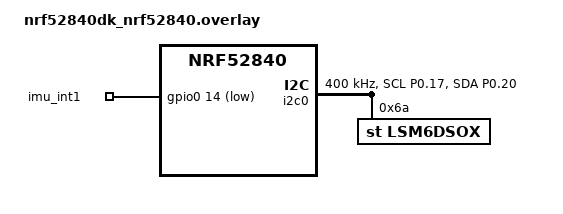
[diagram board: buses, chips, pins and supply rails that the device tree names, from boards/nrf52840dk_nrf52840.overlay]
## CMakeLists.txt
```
# Zephyr build for nRF52840 + LSM6DSOX KWS firmware.
#
# Build:
#   west build -b nrf52840dk_nrf52840 deploy/firmware
#   west flash
cmake_minimum_required(VERSION 3.20.0)
find_package(Zephyr REQUIRED HINTS $ENV{ZEPHYR_BASE})
project(kws_firmware C)

target_sources(app PRIVATE
    src/main.c
    src/ble_kws.c
    src/imu_lsm6dsox.c
    src/kws_pipeline.c
    src/dsp.c
    src/kws_int8.c
    model/dscnn_m_w8a8.c
)

target_include_directories(app PRIVATE
    src
    model
)

# CMSIS-DSP + CMSIS-NN are linked automatically via CONFIG_CMSIS_DSP/NN in prj.conf.
target_compile_definitions(app PRIVATE
    USE_CMSIS_NN=1
    ARM_MATH_CM4=1
    __FPU_PRESENT=1
)

# Push the hottest compute kernels to -O3 + loop unrolling. -O2 (from
# CONFIG_SPEED_OPTIMIZATIONS) is the global default; bumping these specific
# files gets us better auto-vectorization in the int8 conv inner loops.
set_source_files_properties(
    src/kws_int8.c
    src/dsp.c
    PROPERTIES COMPILE_OPTIONS "-O3;-funroll-loops"
)
```

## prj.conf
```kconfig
# Zephyr config for nRF52840 KWS firmware.

# Core
CONFIG_MAIN_STACK_SIZE=2048
CONFIG_HEAP_MEM_POOL_SIZE=2048
CONFIG_CBPRINTF_FP_SUPPORT=y

# Optimize for speed (-O2). Default -Os makes the int8 conv kernels and DFT
# 2-3× slower than necessary. -O2 is the right pick for a real-time KWS path.
CONFIG_SPEED_OPTIMIZATIONS=y

# Peripherals
CONFIG_GPIO=y
CONFIG_I2C=y
CONFIG_PINCTRL=y

# Logging via RTT (USB-UART optional). Use RTT for low overhead.
CONFIG_LOG=y
CONFIG_LOG_MODE_DEFERRED=y
CONFIG_USE_SEGGER_RTT=y
CONFIG_LOG_BACKEND_RTT=y
CONFIG_LOG_BACKEND_UART=n

# Math + FPU (Cortex-M4F)
CONFIG_FPU=y
CONFIG_FPU_SHARING=y
CONFIG_NEWLIB_LIBC=y
CONFIG_NEWLIB_LIBC_FLOAT_PRINTF=y

# CMSIS-DSP (FFT) + CMSIS-NN (conv accel)
CONFIG_CMSIS_DSP=y
CONFIG_CMSIS_NN=y

# Power: keep simple — no PM yet.
CONFIG_PM=n

# Stack overflow guard
CONFIG_HW_STACK_PROTECTION=y
CONFIG_THREAD_STACK_INFO=y




#
# Copyright (c) 2018 Nordic Semiconductor
#
# SPDX-License-Identifier: LicenseRef-Nordic-5-Clause
#
CONFIG_NCS_SAMPLES_DEFAULTS=y

CONFIG_BT=y
CONFIG_BT_PERIPHERAL=y
CONFIG_BT_DEVICE_NAME="KWS_Sensor"
CONFIG_BT_MAX_CONN=1

CONFIG_SYSTEM_WORKQUEUE_STACK_SIZE=2048
# Newlib heap minimum check fires when BLE eats most of SRAM. We use
# k_malloc (Zephyr heap) not newlib malloc, so zero minimum is fine.
CONFIG_NEWLIB_LIBC_MIN_REQUIRED_HEAP_SIZE=0

# FOTA over BLE via MCUmgr
CONFIG_NCS_SAMPLE_MCUMGR_BT_OTA_DFU=y
```

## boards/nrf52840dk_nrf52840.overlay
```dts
// Devicetree overlay: LSM6DSOX on I2C0 (TWIM0), INT1 → P0.30.
//
// Wiring (nRF52840-DK ↔ LSM6DSOX breakout):
//   P0.27  SCL   →  SCL
//   P0.26  SDA   →  SDA
//   P0.30  IRQ   ←  INT1
//   3V3          →  VDD / VDDIO
//   GND          →  GND
//   (SA0 → GND so I2C address = 0x6A; tie SA0 → VDD for 0x6B and update
//    LSM6DSOX_I2C_ADDR in src/imu_lsm6dsox.c, or change the @0x6a node below.)
//
// Pull-ups: most LSM6DSOX breakouts have 10 kΩ pull-ups on board. If yours
// doesn't, add 4.7 kΩ to 3V3 on SDA and SCL.

&pinctrl {
    i2c0_default: i2c0_default {
        group1 {
            psels = <NRF_PSEL(TWIM_SCL, 0, 17)>,
                    <NRF_PSEL(TWIM_SDA, 0, 20)>;
        };
    };
    i2c0_sleep: i2c0_sleep {
        group1 {
            psels = <NRF_PSEL(TWIM_SCL, 0, 17)>,
                    <NRF_PSEL(TWIM_SDA, 0, 20)>;
            low-power-enable;
        };
    };
};

&i2c0 {
    status = "okay";
    compatible = "nordic,nrf-twim";
    clock-frequency = <I2C_BITRATE_FAST>;   // 400 kHz
    pinctrl-0 = <&i2c0_default>;
    pinctrl-1 = <&i2c0_sleep>;
    pinctrl-names = "default", "sleep";

    lsm6dsox: lsm6dsox@6a {
        compatible = "st,lsm6dsox";        // node only — we drive it ourselves
        reg = <0x6a>;
        label = "LSM6DSOX";
    };
};

/ {
    aliases {
        imu-i2c  = &lsm6dsox;
        imu-int1 = &imu_int1;
    };

    imu_gpios {
        compatible = "gpio-keys";
        imu_int1: imu_int1 {
            gpios = <&gpio0 14 (GPIO_ACTIVE_LOW)>;
        };
    };
};
```

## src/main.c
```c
// Production firmware entry point for nRF52840 + LSM6DSOX.
//
// Boot sequence:
//   1. Enable DWT cycle counter (for inference benchmarking).
//   2. Init the lock-free sample ring.
//   3. Start the IMU streaming Z-axis @ 3.33 kHz into the ring.
//   4. Start the KWS inference thread (sliding-window every 250 ms).
//   5. Idle the main thread (deepsleep between IRQs via WFI).
//
// On detection: toggle LED + log + (optionally) send BLE notification.
#include <zephyr/kernel.h>
#include <zephyr/drivers/gpio.h>
#include <zephyr/logging/log.h>

#include "ring_buffer.h"
#include "imu_lsm6dsox.h"
#include "kws_pipeline.h"
#include "ble_kws.h"

LOG_MODULE_REGISTER(main, LOG_LEVEL_INF);

#define LED0_NODE DT_ALIAS(led0)
static const struct gpio_dt_spec led0 = GPIO_DT_SPEC_GET(LED0_NODE, gpios);

static struct sample_ring g_ring;

static const char* KW_NAMES[] = {
    "begin_activity", "stop_activity", "wake_up", "unknown",
};

static void on_keyword(keyword_t kw, float conf) {
    LOG_INF(">>> %s (conf=%.2f)", KW_NAMES[kw], (double)conf);
    gpio_pin_toggle_dt(&led0);
    ble_kws_notify(kw, conf);
}

static void enable_dwt(void) {
    *(volatile uint32_t*)0xE000EDFC |= (1u << 24);  // DEMCR.TRCENA
    *(volatile uint32_t*)0xE0001004  = 0;            // DWT_CYCCNT = 0
    *(volatile uint32_t*)0xE0001000 |= 1u;           // DWT_CTRL.CYCCNTENA
}

int main(void) {
    LOG_INF("DS-CNN-M KWS firmware starting (build " __DATE__ " " __TIME__ ")");

    enable_dwt();
    gpio_pin_configure_dt(&led0, GPIO_OUTPUT_INACTIVE);
    ring_init(&g_ring);

    int rc = ble_kws_init();
    if (rc < 0) {
        LOG_ERR("ble_kws_init failed: %d", rc);
        return rc;
    }

    rc = imu_start(&g_ring, IMU_AXIS_Z);   // training axis
    if (rc < 0) {
        LOG_ERR("imu_start failed: %d", rc);
        return rc;
    }

    struct kws_config cfg = {
        .ring                 = &g_ring,
        .on_keyword           = on_keyword,
        .confidence_threshold = 0.70f,
        .debounce_ms          = 1500,
        .slide_ms             = 250,
    };
    rc = kws_pipeline_start(&cfg);
    if (rc < 0) {
        LOG_ERR("kws_pipeline_start failed: %d", rc);
        return rc;
    }

    // Periodic health log (every 30 s).
    while (1) {
        k_sleep(K_SECONDS(30));
        struct imu_stats is; struct kws_pipeline_stats ks;
        imu_get_stats(&is);
        kws_pipeline_get_stats(&ks);
        LOG_INF("health: imu_irq=%u samples=%u ovr=%u spi_err=%u | "
                "inf=%u det=%u quiet=%u peak=%.4f rms=%.4f avg_cyc=%u "
                "(dsp=%u inf=%u)",
                is.isr_count, is.samples_pushed, is.fifo_overruns,
                is.spi_errors, ks.inferences, ks.detections,
                ks.skipped_quiet, (double)ks.last_peak, (double)ks.last_rms,
                ks.avg_cycles, ks.avg_dsp_cycles, ks.avg_inf_cycles);
    }
    return 0;
}
```

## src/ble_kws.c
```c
#include <zephyr/bluetooth/bluetooth.h>
#include <zephyr/bluetooth/conn.h>
#include <zephyr/bluetooth/uuid.h>
#include <zephyr/bluetooth/gatt.h>
#include <zephyr/settings/settings.h>
#include <zephyr/logging/log.h>

#include "ble_kws.h"

LOG_MODULE_REGISTER(ble_kws, LOG_LEVEL_INF);

/* ── UUIDs ─────────────────────────────────────────────────────────────── */

#define BT_UUID_KWS_SVC_VAL \
    BT_UUID_128_ENCODE(0xa7f0b5c1, 0x1234, 0x4567, 0x89ab, 0xcdef01234567ULL)

#define BT_UUID_KWS_NOTIF_VAL \
    BT_UUID_128_ENCODE(0xa7f0b5c2, 0x1234, 0x4567, 0x89ab, 0xcdef01234567ULL)

static struct bt_uuid_128 kws_svc_uuid   = BT_UUID_INIT_128(BT_UUID_KWS_SVC_VAL);
static struct bt_uuid_128 kws_notif_uuid = BT_UUID_INIT_128(BT_UUID_KWS_NOTIF_VAL);

/* ── GATT service ──────────────────────────────────────────────────────── */
/* attrs: [0] primary svc  [1] chrc decl  [2] chrc value  [3] CCC */

static bool notify_enabled;

static void kws_ccc_changed(const struct bt_gatt_attr *attr, uint16_t value)
{
    notify_enabled = (value == BT_GATT_CCC_NOTIFY);
    LOG_INF("KWS notify %s", notify_enabled ? "enabled" : "disabled");
}

BT_GATT_SERVICE_DEFINE(kws_svc,
    BT_GATT_PRIMARY_SERVICE(&kws_svc_uuid),
    BT_GATT_CHARACTERISTIC(&kws_notif_uuid,
        BT_GATT_CHRC_NOTIFY,
        BT_GATT_PERM_NONE, NULL, NULL, NULL),
    BT_GATT_CCC(kws_ccc_changed, BT_GATT_PERM_READ | BT_GATT_PERM_WRITE),
);

/* ── Advertising ───────────────────────────────────────────────────────── */

static const struct bt_data ad[] = {
    BT_DATA_BYTES(BT_DATA_FLAGS, BT_LE_AD_GENERAL | BT_LE_AD_NO_BREDR),
    BT_DATA_BYTES(BT_DATA_UUID128_ALL, BT_UUID_KWS_SVC_VAL),
};

static const struct bt_data sd[] = {
    BT_DATA(BT_DATA_NAME_COMPLETE,
            CONFIG_BT_DEVICE_NAME,
            sizeof(CONFIG_BT_DEVICE_NAME) - 1),
};

static void start_adv(void)
{
    int rc = bt_le_adv_start(BT_LE_ADV_CONN_FAST_1, ad, ARRAY_SIZE(ad), sd, ARRAY_SIZE(sd));
    if (rc) {
        LOG_ERR("adv start failed: %d", rc);
    }
}

/* ── Connection callbacks ──────────────────────────────────────────────── */

static struct bt_conn *current_conn;

static void on_connected(struct bt_conn *conn, uint8_t err)
{
    if (err) {
        LOG_ERR("BLE connect failed: %u", err);
        start_adv();
        return;
    }
    current_conn = bt_conn_ref(conn);
    LOG_INF("BLE connected");
}

static void on_disconnected(struct bt_conn *conn, uint8_t reason)
{
    bt_conn_unref(current_conn);
    current_conn  = NULL;
    notify_enabled = false;
    LOG_INF("BLE disconnected (reason=%u), restarting advertising", reason);
    start_adv();
}

BT_CONN_CB_DEFINE(conn_cbs) = {
    .connected    = on_connected,
    .disconnected = on_disconnected,
};

/* ── Public API ────────────────────────────────────────────────────────── */

int ble_kws_init(void)
{
    int rc = bt_enable(NULL);
    if (rc) {
        LOG_ERR("bt_enable failed: %d", rc);
        return rc;
    }

    /* Required when CONFIG_BT_SETTINGS/CONFIG_SETTINGS is enabled (pulled in
     * by BT_LBS_SECURITY_ENABLED default). Without this bt_le_adv_start fails
     * because the BLE identity address has not been loaded from flash yet. */
    if (IS_ENABLED(CONFIG_SETTINGS)) {
        settings_load();
    }

    start_adv();
    LOG_INF("BLE KWS ready, advertising as \"%s\"", CONFIG_BT_DEVICE_NAME);
    return 0;
}

static void send_notify(const uint8_t *buf, uint16_t len)
{
    if (!current_conn || !notify_enabled) {
        return;
    }
    int rc = bt_gatt_notify(current_conn, &kws_svc.attrs[2], buf, len);
    if (rc) {
        LOG_WRN("bt_gatt_notify: %d", rc);
    }
}

/* [kw_id 0-3][conf 0-100] */
void ble_kws_notify(keyword_t kw, float conf)
{
    uint8_t buf[2] = {
        (uint8_t)kw,
        (uint8_t)(conf * 100.0f + 0.5f),
    };
    send_notify(buf, sizeof(buf));
}

/* Fixed byte 55 — signals "quiet gate: no motion detected". */
void ble_kws_notify_quiet(void)
{
    uint8_t val = 55;
    send_notify(&val, 1);
}

/* [isr_count_lo][isr_count_hi] (lower 16 bits of ISR counter). */
void ble_kws_notify_imu(uint32_t isr_count)
{
    uint8_t buf[2] = {
        (uint8_t)(isr_count & 0xFF),
        (uint8_t)((isr_count >> 8) & 0xFF),
    };
    send_notify(buf, sizeof(buf));
}
```

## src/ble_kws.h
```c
// BLE transport for KWS detection events.
//
// Service UUID:        a7f0b5c1-1234-4567-89ab-cdef01234567
// Notification UUID:   a7f0b5c2-1234-4567-89ab-cdef01234567
//
// Payload (2 bytes): [keyword_id (0-3)] [confidence 0-100]
#pragma once
#include "kws_pipeline.h"

// Call once after ring/IMU init. Enables BLE stack and starts advertising.
int  ble_kws_init(void);

// Keyword detection: [kw_id 0-3][conf 0-100]
void ble_kws_notify(keyword_t kw, float conf);

// Quiet gate (no motion): sends fixed byte 55. Call on every quiet window.
void ble_kws_notify_quiet(void);

// IMU heartbeat: [isr_count_lo][isr_count_hi]  (lower 16 bits).
void ble_kws_notify_imu(uint32_t isr_count);
```

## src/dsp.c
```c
// DSP front-end implementation. Hand-rolled DFT + mel filterbank.
#include "dsp.h"
#include "../model/mel_filterbank.h"
#include <math.h>
#include <stdint.h>
#include <zephyr/logging/log.h>

LOG_MODULE_REGISTER(dsp, LOG_LEVEL_INF);

static float s_last_peak;          // most recent post-HP peak (for telemetry)
static float s_last_rms;           // most recent post-HP RMS  (for telemetry)
float dsp_last_peak(void) { return s_last_peak; }
float dsp_last_rms(void)  { return s_last_rms;  }

#ifndef M_PI
#define M_PI 3.14159265358979323846f
#endif

// CMSIS RFFT requires pow-of-2 N; DSCNN_N_FFT=133 is not, so we use a cached
// naive DFT path. The CMSIS branch was removed to save flash.

// 4th-order Butterworth HP @ 80 Hz, fs=3333 Hz, designed in scipy:
//   sosbutter(4, 80/(3333/2), btype='high') → 2 biquads, transposed direct II
//
// Pre-computed SOS coefficients (b0,b1,b2,a1,a2 per stage; a0=1)
static const float HP_SOS[2][5] = {
    // stage 1
    { 0.92250928f, -1.84501857f,  0.92250928f, -1.84017057f,  0.84986657f },
    // stage 2
    { 1.00000000f, -2.00000000f,  1.00000000f, -1.92129237f,  0.93098457f },
};

void dsp_hp_filter_inplace(float* x, int n) {
    // Cascade of 2 biquads, transposed direct form II
    for (int s = 0; s < 2; ++s) {
        const float b0 = HP_SOS[s][0], b1 = HP_SOS[s][1], b2 = HP_SOS[s][2];
        const float a1 = HP_SOS[s][3], a2 = HP_SOS[s][4];
        float z1 = 0.0f, z2 = 0.0f;
        for (int i = 0; i < n; ++i) {
            float in = x[i];
            float out = b0 * in + z1;
            z1 = b1 * in - a1 * out + z2;
            z2 = b2 * in - a2 * out;
            x[i] = out;
        }
    }
}

void dsp_peak_normalize(float* x, int n) {
    float peak = 0.0f;
    for (int i = 0; i < n; ++i) {
        float a = fabsf(x[i]);
        if (a > peak) peak = a;
    }
    if (peak > 0.0f) {
        const float inv = 1.0f / peak;
        for (int i = 0; i < n; ++i) x[i] *= inv;
    }
}

// Returns the start sample of the highest-energy `win`-sample window.
// If n <= win, copies x with zero-padding centered.
int dsp_max_energy_crop(const float* x, int n, int win, float* out) {
    if (n <= win) {
        int pad = win - n;
        int l = pad / 2;
        for (int i = 0; i < l; ++i) out[i] = 0.0f;
        for (int i = 0; i < n; ++i) out[l + i] = x[i];
        for (int i = l + n; i < win; ++i) out[i] = 0.0f;
        return 0;
    }
    // 25 ms smoothing window for short-time energy
    const int k = (int)(0.025f * DSCNN_SAMPLE_RATE);  // ~83
    // Compute squared signal and 1D box-smooth via running sum.
    float sum = 0.0f;
    // Cumulative energy  c[i] = sum_{j<i} x[j]^2
    // We avoid allocating: compute window energies in-place via sliding sum.
    // First pass: window energy at each start.
    float win_e_max = -1.0f; int best_start = 0;
    // Build initial sliding-energy of 'win' samples
    float win_sum = 0.0f;
    for (int i = 0; i < win; ++i) win_sum += x[i] * x[i];
    win_e_max = win_sum; best_start = 0;
    for (int i = win; i < n; ++i) {
        win_sum += x[i] * x[i] - x[i - win] * x[i - win];
        if (win_sum > win_e_max) { win_e_max = win_sum; best_start = i - win + 1; }
    }
    (void)k;  // smoothing isn't strictly needed for argmax of 2s window
    for (int i = 0; i < win; ++i) out[i] = x[best_start + i];
    return best_start;
}

void dsp_log_standardize(float* m, int n_mels, int t) {
    // (m - mean) / std, computed over the full (n_mels x t) tensor
    int n = n_mels * t;
    double sum = 0.0, sumsq = 0.0;
    for (int i = 0; i < n; ++i) {
        float v = logf(m[i] + 1e-6f);
        m[i] = v;
        sum += v; sumsq += (double)v * v;
    }
    double mean = sum / n;
    double var  = sumsq / n - mean * mean;
    if (var < 0) var = 0;
    float inv_std = 1.0f / (sqrtf((float)var) + 1e-5f);
    for (int i = 0; i < n; ++i) m[i] = (m[i] - (float)mean) * inv_std;
}

// ─── log-mel main entry ───
int dsp_logmel(const int16_t* pcm, int n_in,
                float* logmel_out, float* scratch, int n_scratch) {
    // Scratch layout (compact):
    //   When n_in <= WINDOW_SAMPLES (steady-state path): wav aliases hp_in,
    //   so we only need WINDOW + N_FFT + (N_FFT/2+1) floats. Saves ~26 KB.
    //   When n_in > WINDOW_SAMPLES we still allocate a separate wav for the
    //   max-energy crop output. Pipeline always feeds WINDOW_SAMPLES, so the
    //   small layout is the hot path.
    int n_proc = n_in;
    if (n_proc > 2 * WINDOW_SAMPLES) n_proc = 2 * WINDOW_SAMPLES;

    const int alias_wav = (n_proc <= WINDOW_SAMPLES);
    int need = (alias_wav ? WINDOW_SAMPLES
                          : n_proc + WINDOW_SAMPLES)
             + DSCNN_N_FFT + (DSCNN_N_FFT / 2 + 1);
    if (n_scratch < need) return -1;

    float* hp_in = scratch;
    float* wav   = alias_wav ? hp_in : (scratch + n_proc);
    float* frame = (alias_wav ? scratch + WINDOW_SAMPLES
                              : wav + WINDOW_SAMPLES);
    float* power = frame + DSCNN_N_FFT;

    // 1. int16 → float, walk backward so this is safe when pcm aliases hp_in
    // (callers may overlay the int16 PCM buffer onto the float scratch via a
    // union to save SRAM). Since sizeof(float)>sizeof(int16_t) and we walk i
    // descending, every read of pcm[i] precedes the write of hp_in[i] and the
    // hp_in[j>i] writes only ever touch addresses above pcm[i].
    for (int i = n_proc - 1; i >= 0; --i) {
        hp_in[i] = (float)pcm[i] * (1.0f / 32768.0f);
    }

    // 2. HP filter @ 80 Hz
    dsp_hp_filter_inplace(hp_in, n_proc);

    // 2b. Quiet-floor gate: peak-normalize destroys amplitude info, so without
    // this guard pure idle noise gets blown up to ±1.0 and the model fires on
    // every window. Reject windows whose post-HP peak is below the floor.
    {
        // Combined peak + RMS gate. Peak alone is fooled by a single spike of
        // electrical noise on the SPI line; RMS catches sustained low-level
        // hum that the peak gate also misses. Both must clear thresholds.
        float peak = 0.0f;
        double sumsq = 0.0;
        for (int i = 0; i < n_proc; ++i) {
            float v = hp_in[i];
            float a = fabsf(v);
            if (a > peak) peak = a;
            sumsq += (double)v * v;
        }
        float rms = sqrtf((float)(sumsq / (double)n_proc));
        s_last_peak = peak;
        s_last_rms  = rms;
        if (peak < DSP_QUIET_FLOOR || rms < DSP_RMS_FLOOR) {
            LOG_DBG("quiet: peak=%.5f rms=%.5f", (double)peak, (double)rms);
            return 1;  // positive = silent, not error
        }
        LOG_DBG("active: peak=%.5f rms=%.5f", (double)peak, (double)rms);
    }

    // 3. Peak normalize
    dsp_peak_normalize(hp_in, n_proc);

    // 4. Max-energy 2.0s crop. When n_proc == WINDOW the crop is the identity
    // and wav already aliases hp_in, so skip the redundant memcpy.
    if (!(alias_wav && n_proc == WINDOW_SAMPLES)) {
        dsp_max_energy_crop(hp_in, n_proc, WINDOW_SAMPLES, wav);
    }

    // 5. Naive RDFT with cached Hann + twiddles. N=133 is not pow-2 so we
    // cannot use arm_rfft_fast_f32 directly without rebuilding the filterbank.
    const int N    = DSCNN_N_FFT;
    const int HOP_ = DSCNN_HOP;
    const int T    = (WINDOW_SAMPLES - N) / HOP_ + 1;
    const int NB   = N / 2 + 1;

    static float  s_hann[DSCNN_N_FFT];
    static float  s_tw_c[DSCNN_N_FFT / 2 + 1];   // cos(2πk/N) per bin
    static float  s_tw_s[DSCNN_N_FFT / 2 + 1];   // -sin(2πk/N) per bin (FFT sign)
    static int    s_tables_init = 0;
    if (!s_tables_init) {
        for (int i = 0; i < N; ++i) {
            s_hann[i] = 0.5f - 0.5f * cosf(2.0f * (float)M_PI * i / (N - 1));
        }
        for (int k = 0; k < NB; ++k) {
            float a = 2.0f * (float)M_PI * (float)k / (float)N;
            s_tw_c[k] =  cosf(a);
            s_tw_s[k] = -sinf(a);  // FFT sign convention: e^(-j2πkn/N)
        }
        s_tables_init = 1;
    }

    for (int t = 0; t < T; ++t) {
        const int s0 = t * HOP_;
        for (int i = 0; i < N; ++i) frame[i] = wav[s0 + i] * s_hann[i];

        // |DFT|² via angle-recurrence twiddles. For bin k, twiddle steps by
        // (dc, ds) = (cos(2πk/N), -sin(2πk/N)) starting from (1, 0).
        for (int k = 0; k < NB; ++k) {
            const float dc = s_tw_c[k];
            const float ds = s_tw_s[k];
            float c = 1.0f, s = 0.0f;
            float re = 0.0f, im = 0.0f;
            for (int n = 0; n < N; ++n) {
                const float xn = frame[n];
                re += xn * c;
                im += xn * s;
                const float c_new = c * dc - s * ds;
                const float s_new = c * ds + s * dc;
                c = c_new; s = s_new;
            }
            power[k] = re * re + im * im;
        }

        // Apply mel filterbank: logmel_out[mel_idx, t] = sum_k FB[m,k] * power[k]
        for (int m = 0; m < DSCNN_N_MELS; ++m) {
            float sum_m = 0.0f;
            const float* fb = &MEL_FILTERBANK[m * MEL_N_BINS];
            for (int k = 0; k < NB; ++k) sum_m += fb[k] * power[k];
            logmel_out[m * T + t] = sum_m;
        }
    }

    // 6. log + per-clip standardize
    dsp_log_standardize(logmel_out, DSCNN_N_MELS, T);
    return 0;
}
```

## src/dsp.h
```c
// DSP front-end for DS-CNN-M KWS
//   raw int16 IMU (3333 Hz) → log-mel spectrogram (n_mels=30, T=101)
#pragma once
#include <stdint.h>
#include "../model/dscnn_m_w8a8.h"

// Sizes (from model header, repeated for clarity)
#define WINDOW_SAMPLES   DSCNN_WINDOW_SAMPLES   // 6666 = 2.0s @ 3333 Hz
#define MEL_T            ((WINDOW_SAMPLES - DSCNN_N_FFT) / DSCNN_HOP + 1)  // ≈ 100

// Post-HP peak/RMS thresholds (normalized [-1,1] units) below which the window
// is treated as silent and inference is skipped. The previous 0.005 peak-only
// floor was too permissive — sustained low-level IMU noise was clearing it.
// Defaults bumped 10× and an RMS gate added.  Tune empirically: log
// `health: ... peak= rms=` while idle and set thresholds 3-5× above observed.
#ifndef DSP_QUIET_FLOOR
#define DSP_QUIET_FLOOR  0.05f      // peak floor
#endif
#ifndef DSP_RMS_FLOOR
#define DSP_RMS_FLOOR    0.015f     // RMS floor (rejects steady-state hum)
#endif

// dsp_logmel return values:
//   0  — features written, run inference
//   1  — window is below quiet floor, treat as no-keyword (skip inference)
//   <0 — error

// Process raw int16 PCM samples -> normalized log-mel features.
// Inputs:
//   pcm:        raw int16 samples (any length n_in)
//   n_in:       number of input samples
//   logmel_out: output buffer, shape [DSCNN_N_MELS x MEL_T] row-major (n_mels rows)
//   scratch:    workspace, must hold at least:
//                 WINDOW_SAMPLES floats         (preprocessed waveform)
//               + DSCNN_N_FFT floats            (FFT input window)
//               + (DSCNN_N_FFT/2+1) floats      (power spectrum)
//   n_scratch:  scratch buffer size in floats
// Returns 0 on success, nonzero on error.
int dsp_logmel(const int16_t* pcm, int n_in,
                float* logmel_out, float* scratch, int n_scratch);

// Internal primitives (exposed for testing)
void dsp_hp_filter_inplace(float* x, int n);
void dsp_peak_normalize(float* x, int n);
int  dsp_max_energy_crop(const float* x, int n, int win, float* out);
void dsp_log_standardize(float* m, int n_mels, int t);

// Most recent post-HP peak / RMS (telemetry / threshold tuning).
float dsp_last_peak(void);
float dsp_last_rms(void);
```

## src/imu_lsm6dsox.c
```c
// LSM6DSOX driver — accel-only, 3.33 kHz ODR, hardware FIFO watermark IRQ.
// I2C transport (not SPI).
//
// Design notes:
//   * The model was trained on 3333 Hz int16 Z-axis accel samples.
//   * FIFO watermark = 64 samples (~19 ms). At 400 kHz I2C, draining
//     64 frames × 7 B takes ~11 ms — fits within the next watermark.
//   * INT1 is active-low (H_LACTIVE=1 in CTRL3_C) to match the overlay flag.
//   * FIFO drain runs in a dedicated thread — I2C TWIM uses DMA+semaphores
//     and cannot be called from a GPIO ISR.
//
// Wiring (boards/nrf52840dk_nrf52840.overlay):
//   I2C0 → LSM6DSOX  (INT1 = imu-int1 alias, active-low)
#include "imu_lsm6dsox.h"
#include "ble_kws.h"

#include <zephyr/kernel.h>
#include <zephyr/drivers/i2c.h>
#include <zephyr/drivers/gpio.h>
#include <zephyr/sys/atomic.h>
#include <zephyr/logging/log.h>
#include <errno.h>
#include <math.h>
#include <string.h>

LOG_MODULE_REGISTER(imu, LOG_LEVEL_INF);

// LSM6DSOX register map (subset)
#define REG_WHO_AM_I          0x0F
#define REG_FIFO_CTRL1        0x07
#define REG_FIFO_CTRL2        0x08
#define REG_FIFO_CTRL3        0x09
#define REG_FIFO_CTRL4        0x0A
#define REG_INT1_CTRL         0x0D
#define REG_CTRL1_XL          0x10
#define REG_CTRL3_C           0x12
#define REG_CTRL6_C           0x15
#define REG_FIFO_STATUS1      0x3A
#define REG_FIFO_STATUS2      0x3B
#define REG_FIFO_DATA_OUT_TAG 0x78

#define WHO_AM_I_VALUE    0x6C
#define ODR_3K33_FS_4G    0x98  // ODR=3333 Hz, FS=±4 g
#define FIFO_WTM_LEVEL    64
#define FIFO_BDR_XL_3K33  0x0A  // 1010 = 3333.3 Hz (Table 54)
#define FIFO_MODE_BYPASS  0x00
#define FIFO_MODE_CONT    0x06

#define I2C_NODE  DT_ALIAS(imu_i2c)
#define INT1_NODE DT_ALIAS(imu_int1)

static const struct i2c_dt_spec imu_i2c  = I2C_DT_SPEC_GET(I2C_NODE);
static const struct gpio_dt_spec int1_pin = GPIO_DT_SPEC_GET(INT1_NODE, gpios);
static struct gpio_callback int1_cb;

static struct sample_ring *g_ring;
static imu_axis_t          g_axis;
static struct imu_stats    g_stats;
static atomic_t            g_running;

// Semaphore: ISR gives, drain thread takes.
static K_SEM_DEFINE(g_fifo_sem, 0, 1);

// ── low-level I2C (thread context only) ──
static int reg_write(uint8_t reg, uint8_t val) {
    return i2c_reg_write_byte_dt(&imu_i2c, reg, val);
}

static int reg_read(uint8_t reg, uint8_t *dst, size_t n) {
    return i2c_burst_read_dt(&imu_i2c, reg, dst, n);
}

// ── ISR — must not call I2C ──
static void on_int1(const struct device *dev, struct gpio_callback *cb,
                    uint32_t pins) {
    ARG_UNUSED(dev); ARG_UNUSED(cb); ARG_UNUSED(pins);
    g_stats.isr_count++;
    k_sem_give(&g_fifo_sem);
    /* Log first hit and every 500th to confirm IRQ is firing without flooding RTT. */
    if (g_stats.isr_count == 1 || (g_stats.isr_count % 500) == 0) {
        LOG_INF("INT1 fired #%u", g_stats.isr_count);
    }
}

// ── FIFO drain (runs in imu_drain thread) ──
static void drain_fifo(void) {
    uint8_t st[2];
    if (reg_read(REG_FIFO_STATUS1, st, 2) < 0) {
        g_stats.spi_errors++;
        return;
    }
    uint16_t fifo_level = ((uint16_t)(st[1] & 0x03) << 8) | st[0];
    bool overrun = (st[1] & 0x40) != 0;
    if (overrun) g_stats.fifo_overruns++;
    if (fifo_level == 0) return;
    if (fifo_level > FIFO_WTM_LEVEL * 2) fifo_level = FIFO_WTM_LEVEL * 2;

    static uint8_t frames[FIFO_WTM_LEVEL * 2 * 7];
    if (reg_read(REG_FIFO_DATA_OUT_TAG, frames, fifo_level * 7) < 0) {
        g_stats.spi_errors++;
        return;
    }

    for (uint16_t i = 0; i < fifo_level; ++i) {
        const uint8_t *f = &frames[i * 7];
        if (((f[0] >> 3) & 0x1F) != 0x02) continue;  // accel tag only
        int16_t x = (int16_t)((f[2] << 8) | f[1]);
        int16_t y = (int16_t)((f[4] << 8) | f[3]);
        int16_t z = (int16_t)((f[6] << 8) | f[5]);

        int16_t s;
        switch (g_axis) {
        case IMU_AXIS_X: s = x; break;
        case IMU_AXIS_Y: s = y; break;
        case IMU_AXIS_Z: s = z; break;
        case IMU_AXIS_MAGNITUDE:
        default: {
            int32_t sx = x, sy = y, sz = z;
            uint32_t m = (uint32_t)sqrtf((float)(sx*sx + sy*sy + sz*sz));
            s = (int16_t)(m > 32767 ? 32767 : m);
            break;
        }
        }
        ring_push(g_ring, s);
    }
    g_stats.samples_pushed += fifo_level;
}

// ── drain thread ──
#define IMU_DRAIN_STACK 1024
K_THREAD_STACK_DEFINE(g_drain_stack, IMU_DRAIN_STACK);
static struct k_thread g_drain_thread;

static void drain_thread_fn(void *a, void *b, void *c) {
    ARG_UNUSED(a); ARG_UNUSED(b); ARG_UNUSED(c);
    while (atomic_get(&g_running)) {
        k_sem_take(&g_fifo_sem, K_FOREVER);
        if (atomic_get(&g_running)) {
            drain_fifo();
            uint32_t cnt = g_stats.isr_count;
            if (cnt == 1 || (cnt % 500) == 0) {
                ble_kws_notify_imu(cnt);
            }
        }
    }
}

// ── public API ──
int imu_start(struct sample_ring *ring, imu_axis_t axis) {
    if (!device_is_ready(imu_i2c.bus)) {
        LOG_ERR("I2C bus %s not ready", imu_i2c.bus->name);
        return -ENODEV;
    }
    if (!gpio_is_ready_dt(&int1_pin)) {
        LOG_ERR("INT1 GPIO port not ready");
        return -ENODEV;
    }
    LOG_INF("I2C bus '%s' ready, target addr=0x%02x", imu_i2c.bus->name, imu_i2c.addr);

    g_ring = ring;
    g_axis = axis;
    memset(&g_stats, 0, sizeof(g_stats));

    // Try I2C bus recovery in case lines are stuck (e.g., a previous run left
    // the chip mid-transaction). Harmless if not supported.
    int rc = i2c_recover_bus(imu_i2c.bus);
    if (rc != 0 && rc != -ENOSYS) {
        LOG_WRN("i2c_recover_bus returned %d", rc);
    }

    // The LSM6DSOX boot time after power-on is up to 10 ms. Give it a margin
    // in case the MCU reset before the chip finished its own boot.
    k_msleep(20);

    // Probe with WHO_AM_I, retrying briefly to ride out any startup glitches.
    uint8_t whoami = 0;
    int last_err = 0;
    for (int attempt = 0; attempt < 5; ++attempt) {
        last_err = reg_read(REG_WHO_AM_I, &whoami, 1);
        if (last_err == 0) break;
        LOG_WRN("WHO_AM_I read attempt %d failed: %d", attempt + 1, last_err);
        k_msleep(20);
    }
    if (last_err != 0) {
        LOG_ERR("WHO_AM_I read failed after retries: %d (check SCL=P0.17, "
                "SDA=P0.20, 3V3, GND, SA0)", last_err);
        return -EIO;
    }
    if (whoami != WHO_AM_I_VALUE) {
        LOG_ERR("WHO_AM_I=0x%02x expected 0x6C (I2C addr / wiring?)", whoami);
        return -ENODEV;
    }
    LOG_INF("WHO_AM_I=0x%02x OK", whoami);

    // Soft reset, then configure CTRL3_C:
    //   bit 6 BDU       = 1 (block data update)
    //   bit 5 H_LACTIVE = 1 (INT pin active-low, matches GPIO_ACTIVE_LOW in DT)
    //   bit 4 PP_OD     = 0 (push-pull — no pull-up needed)
    //   bit 2 IF_INC    = 1 (auto-increment register address on burst reads)
    //   → 0x40 | 0x20 | 0x04 = 0x64
    // Previous 0x54 set PP_OD instead of H_LACTIVE, so INT1 was active-HIGH and
    // Zephyr's EDGE_TO_ACTIVE (falling edge) never saw a transition.
    reg_write(REG_CTRL3_C, 0x01);
    k_msleep(15);
    reg_write(REG_CTRL3_C, 0x64);

    uint8_t ctrl3 = 0;
    if (reg_read(REG_CTRL3_C, &ctrl3, 1) == 0 && ctrl3 != 0x64) {
        LOG_ERR("CTRL3_C readback=0x%02x expected 0x64", ctrl3);
    }

    reg_write(REG_CTRL6_C, 0x00);  // high-perf accel mode

    // FIFO: WTM=64, BDR_XL=3333 Hz, continuous mode
    reg_write(REG_FIFO_CTRL1, FIFO_WTM_LEVEL & 0xFF);
    reg_write(REG_FIFO_CTRL2, 0x00);
    reg_write(REG_FIFO_CTRL3, FIFO_BDR_XL_3K33);
    reg_write(REG_FIFO_CTRL4, FIFO_MODE_CONT);

    // Route FIFO threshold interrupt to INT1
    reg_write(REG_INT1_CTRL, 0x08);  // INT1_FIFO_TH

    // Reset FIFO to bypass so INT1 de-asserts before we arm the edge interrupt.
    // Without this, INT1 may already be active when we enable edge detection,
    // and the first falling edge is never seen.
    reg_write(REG_FIFO_CTRL4, FIFO_MODE_BYPASS);
    k_msleep(2);
    reg_write(REG_FIFO_CTRL4, FIFO_MODE_CONT);

    // Arm GPIO interrupt (falling edge = INT1 going active-low).
    // Order: configure pin → register callback → THEN enable edge detection,
    // so a callback is in place before any edge can fire.
    gpio_pin_configure_dt(&int1_pin, GPIO_INPUT);
    int idle_lvl = gpio_pin_get_dt(&int1_pin);
    LOG_INF("INT1 idle logical=%d (expect 0 = inactive; FIFO empty after bypass)",
            idle_lvl);

    gpio_init_callback(&int1_cb, on_int1, BIT(int1_pin.pin));
    gpio_add_callback(int1_pin.port, &int1_cb);
    gpio_pin_interrupt_configure_dt(&int1_pin, GPIO_INT_EDGE_TO_ACTIVE);

    // Start drain thread before enabling the accel so no IRQ is missed
    atomic_set(&g_running, 1);
    k_thread_create(&g_drain_thread, g_drain_stack, IMU_DRAIN_STACK,
                    drain_thread_fn, NULL, NULL, NULL,
                    K_PRIO_PREEMPT(5), 0, K_NO_WAIT);
    k_thread_name_set(&g_drain_thread, "imu_drain");

    // Start accelerometer
    reg_write(REG_CTRL1_XL, ODR_3K33_FS_4G);

    // Sanity: at 3.33 kHz with WTM=64, FIFO reaches watermark in ~19 ms.
    // If the chip is OK, after 50 ms the FIFO level should be ≥ 64 and INT1
    // should be asserted (logical=1 with active-low). If FIFO fills but INT1
    // never asserts, INT routing is wrong. If neither, accel/FIFO is broken.
    k_msleep(50);
    uint8_t st[2] = {0};
    (void)reg_read(REG_FIFO_STATUS1, st, 2);
    uint16_t lvl = ((uint16_t)(st[1] & 0x03) << 8) | st[0];
    int active_lvl = gpio_pin_get_dt(&int1_pin);
    LOG_INF("After accel start: fifo_level=%u INT1 logical=%d "
            "(expect lvl>=64, INT1=1)", lvl, active_lvl);

    LOG_INF("LSM6DSOX (I2C@0x%02x) streaming @ 3.33 kHz, axis=%d",
            imu_i2c.addr, (int)axis);
    return 0;
}

void imu_stop(void) {
    reg_write(REG_CTRL1_XL, 0x00);        // power-down accel
    gpio_remove_callback(int1_pin.port, &int1_cb);
    atomic_set(&g_running, 0);
    k_sem_give(&g_fifo_sem);              // unblock drain thread so it can exit
    k_thread_join(&g_drain_thread, K_FOREVER);
}

void imu_get_stats(struct imu_stats *out) { *out = g_stats; }
```

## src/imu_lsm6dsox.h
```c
// LSM6DSOX driver: configure 3.33 kHz accel, drain hardware FIFO into a
// ring buffer on every watermark interrupt.
//
// Public API (start in main, then forget — everything else is interrupt-driven).
#pragma once
#include <stdbool.h>
#include "ring_buffer.h"

// Which accel axis to push into the model. Must match the axis used during
// training (set via training pipeline metadata; see deploy/README.md).
typedef enum {
    IMU_AXIS_X = 0,
    IMU_AXIS_Y = 1,
    IMU_AXIS_Z = 2,
    IMU_AXIS_MAGNITUDE = 3,  // sqrt(x^2+y^2+z^2) - matches training if used
} imu_axis_t;

// Initialize the SPI bus, configure the LSM6DSOX, install the FIFO-watermark
// IRQ, and start streaming into `ring`. Returns 0 on success, negative errno.
int imu_start(struct sample_ring* ring, imu_axis_t axis);

// Stop streaming and put the IMU in power-down. Safe to call from main thread.
void imu_stop(void);

// Diagnostic counters (atomic, may be read at any time).
struct imu_stats {
    uint32_t fifo_overruns;   // sensor reported FIFO_OVR
    uint32_t spi_errors;
    uint32_t samples_pushed;
    uint32_t isr_count;
};
void imu_get_stats(struct imu_stats* out);
```

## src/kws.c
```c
// DS-CNN-M INT8-weight forward pass (float activations)
//
// Layer pipeline (matches the PyTorch DSCNN class exactly after BN folding):
//   1. stem       Conv2d(1->172, kernel=10x4, stride=2x2, pad=5x1) + ReLU
//   2-5. blocks   for i in 0..3:
//                   Conv2d depthwise 3x3 stride 1 + ReLU
//                   Conv2d pointwise 1x1          + ReLU
//   6. global avg pool over (H, W)
//   7. fc Linear (172 -> N_CLASSES)
//
// All weights are int8 with per-output-channel float scale.
// Compute is float32 (small SRAM footprint hit, but matches PTQ math bit-exact
// and avoids needing per-layer activation calibration).

#include "kws.h"
#include <math.h>
#include <string.h>
#include <stdint.h>
#include <stdlib.h>

#define MAX(a,b) ((a)>(b)?(a):(b))
#define MIN(a,b) ((a)<(b)?(a):(b))
#define IDX3(c,h,w, H,W) (((c)*(H)+(h))*(W)+(w))
#define IDX4(o,i,kh,kw, IC,KH,KW) ((((o)*(IC)+(i))*(KH)+(kh))*(KW)+(kw))

static inline float relu(float x) { return x > 0.0f ? x : 0.0f; }

// Conv2d (single-input or multi-input, NOT depthwise). Float in/out, INT8 weights.
//   in    : [in_c, in_h, in_w]
//   W_q   : [out_c, in_c, kh, kw] (int8)
//   S     : [out_c] (float, per-out-channel scale)
//   B     : [out_c] (float, folded bias)
//   out   : [out_c, out_h, out_w]
static void conv2d_int8w(const float* in, int in_c, int in_h, int in_w,
                          const int8_t* W_q, const float* S, const float* B,
                          int out_c, int kh, int kw, int sh, int sw, int ph, int pw,
                          float* out, int relu_act) {
    const int out_h = (in_h + 2 * ph - kh) / sh + 1;
    const int out_w = (in_w + 2 * pw - kw) / sw + 1;
    for (int oc = 0; oc < out_c; ++oc) {
        const float scale = S[oc];
        const float bias  = B[oc];
        for (int oh = 0; oh < out_h; ++oh) {
            for (int ow = 0; ow < out_w; ++ow) {
                float acc = 0.0f;
                for (int ic = 0; ic < in_c; ++ic) {
                    for (int ki = 0; ki < kh; ++ki) {
                        const int ih = oh * sh + ki - ph;
                        if (ih < 0 || ih >= in_h) continue;
                        for (int kj = 0; kj < kw; ++kj) {
                            const int iw = ow * sw + kj - pw;
                            if (iw < 0 || iw >= in_w) continue;
                            const float v = in[IDX3(ic, ih, iw, in_h, in_w)];
                            const int8_t qw = W_q[IDX4(oc, ic, ki, kj, in_c, kh, kw)];
                            acc += v * (float)qw;
                        }
                    }
                }
                float y = acc * scale + bias;
                if (relu_act) y = relu(y);
                out[IDX3(oc, oh, ow, out_h, out_w)] = y;
            }
        }
    }
}

// Depthwise conv2d (groups = channels). Weight shape [c, 1, kh, kw].
static void dwconv2d_int8w(const float* in, int c, int in_h, int in_w,
                            const int8_t* W_q, const float* S, const float* B,
                            int kh, int kw, int sh, int sw, int ph, int pw,
                            float* out, int relu_act) {
    const int out_h = (in_h + 2 * ph - kh) / sh + 1;
    const int out_w = (in_w + 2 * pw - kw) / sw + 1;
    for (int ch = 0; ch < c; ++ch) {
        const float scale = S[ch];
        const float bias  = B[ch];
        for (int oh = 0; oh < out_h; ++oh) {
            for (int ow = 0; ow < out_w; ++ow) {
                float acc = 0.0f;
                for (int ki = 0; ki < kh; ++ki) {
                    const int ih = oh * sh + ki - ph;
                    if (ih < 0 || ih >= in_h) continue;
                    for (int kj = 0; kj < kw; ++kj) {
                        const int iw = ow * sw + kj - pw;
                        if (iw < 0 || iw >= in_w) continue;
                        const float v = in[IDX3(ch, ih, iw, in_h, in_w)];
                        // dw weight layout: [c, 1, kh, kw] → flat index [ch][0][ki][kj]
                        const int8_t qw = W_q[((ch * 1 + 0) * kh + ki) * kw + kj];
                        acc += v * (float)qw;
                    }
                }
                float y = acc * scale + bias;
                if (relu_act) y = relu(y);
                out[IDX3(ch, oh, ow, out_h, out_w)] = y;
            }
        }
    }
}

// Linear layer (INT8 weights). W_q: [out_f, in_f]
static void linear_int8w(const float* in, int in_f,
                          const int8_t* W_q, const float* S, const float* B,
                          int out_f, float* out) {
    for (int o = 0; o < out_f; ++o) {
        float acc = 0.0f;
        for (int i = 0; i < in_f; ++i) {
            acc += in[i] * (float)W_q[o * in_f + i];
        }
        out[o] = acc * S[o] + B[o];
    }
}

// ─── Forward pass ───
int kws_forward(const float* feat, float* logits_out, void* arena, int arena_bytes) {
    // Use the arena as two ping-pong activation buffers
    const int max_act_floats = arena_bytes / (2 * sizeof(float));
    float* buf0 = (float*)arena;
    float* buf1 = buf0 + max_act_floats;

    // Input feat: [N_MELS, T] = [30, 100], treat as [in_c=1, H=30, W=100]
    const int in_c = 1;
    int H = DSCNN_N_MELS;        // 30
    int W = KWS_FEAT_T;          // 100

    // 1. stem: Conv2d(1 -> 172, kernel from header, stride from header, pad from header)
    {
        const int kh=DSCNN_STEM_KERNEL_H, kw=DSCNN_STEM_KERNEL_W;
        const int sh=DSCNN_STEM_STRIDE_H, sw=DSCNN_STEM_STRIDE_W;
        const int ph=DSCNN_STEM_PADDING_H, pw=DSCNN_STEM_PADDING_W;
        const int oh = (H + 2*ph - kh) / sh + 1;
        const int ow = (W + 2*pw - kw) / sw + 1;
        if ((int)(DSCNN_FILTERS * oh * ow * sizeof(float)) > arena_bytes / 2) return -1;
        conv2d_int8w(feat, in_c, H, W,
                      stem_W, stem_S, stem_B,
                      DSCNN_FILTERS, kh, kw, sh, sw, ph, pw,
                      buf0, 1);
        H = oh; W = ow;
    }

    int cur = 0;  // 0 = buf0 has activations, 1 = buf1
    float* curp = buf0;
    float* nxt  = buf1;

    // 2-5. Blocks: depthwise(3x3 s1 p1) → relu → pointwise(1x1) → relu
    const int8_t* dw_Ws[4] = { block0_dw_W, block1_dw_W, block2_dw_W, block3_dw_W };
    const float*  dw_Ss[4] = { block0_dw_S, block1_dw_S, block2_dw_S, block3_dw_S };
    const float*  dw_Bs[4] = { block0_dw_B, block1_dw_B, block2_dw_B, block3_dw_B };
    const int8_t* pw_Ws[4] = { block0_pw_W, block1_pw_W, block2_pw_W, block3_pw_W };
    const float*  pw_Ss[4] = { block0_pw_S, block1_pw_S, block2_pw_S, block3_pw_S };
    const float*  pw_Bs[4] = { block0_pw_B, block1_pw_B, block2_pw_B, block3_pw_B };

    for (int blk = 0; blk < DSCNN_N_BLOCKS; ++blk) {
        // Depthwise — same H,W
        dwconv2d_int8w(curp, DSCNN_FILTERS, H, W,
                        dw_Ws[blk], dw_Ss[blk], dw_Bs[blk],
                        3, 3, 1, 1, 1, 1, nxt, 1);
        cur = 1 - cur; { float* t = curp; curp = nxt; nxt = t; }
        // Pointwise — same H,W, channels in = out = 172
        conv2d_int8w(curp, DSCNN_FILTERS, H, W,
                      pw_Ws[blk], pw_Ss[blk], pw_Bs[blk],
                      DSCNN_FILTERS, 1, 1, 1, 1, 0, 0, nxt, 1);
        cur = 1 - cur; { float* t = curp; curp = nxt; nxt = t; }
    }

    // 6. Global average pool over (H, W) → [DSCNN_FILTERS]
    static float pooled[DSCNN_FILTERS];
    const float inv_hw = 1.0f / (float)(H * W);
    for (int c = 0; c < DSCNN_FILTERS; ++c) {
        float s = 0.0f;
        const float* p = curp + c * H * W;
        for (int i = 0; i < H * W; ++i) s += p[i];
        pooled[c] = s * inv_hw;
    }

    // 7. FC: Linear(172 -> N_CLASSES)
    linear_int8w(pooled, DSCNN_FILTERS, fc_W, fc_S, fc_B, DSCNN_N_CLASSES, logits_out);

    // argmax
    int best = 0; float best_v = logits_out[0];
    for (int c = 1; c < DSCNN_N_CLASSES; ++c) {
        if (logits_out[c] > best_v) { best_v = logits_out[c]; best = c; }
    }
    return best;
}
```

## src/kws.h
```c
// DS-CNN-M INT8-weight forward pass (float activations)
//   input:  log-mel features [N_MELS x T] (float, standardized)
//   output: class logits [N_CLASSES] (float)
#pragma once
#include <stdint.h>
#include "../model/dscnn_m_int8.h"

#define KWS_FEAT_T   100   // mel time frames

// Stem output spatial dims (depend on stem_stride from training)
#define KWS_STEM_OUT_H  ((DSCNN_N_MELS + 2*DSCNN_STEM_PADDING_H - DSCNN_STEM_KERNEL_H) / DSCNN_STEM_STRIDE_H + 1)
#define KWS_STEM_OUT_W  ((KWS_FEAT_T   + 2*DSCNN_STEM_PADDING_W - DSCNN_STEM_KERNEL_W) / DSCNN_STEM_STRIDE_W + 1)

// Two ping-pong buffers, each sized for the largest activation tensor.
// Largest tensor = DSCNN_FILTERS × KWS_STEM_OUT_H × KWS_STEM_OUT_W floats.
#define KWS_ACT_FLOATS  (DSCNN_FILTERS * KWS_STEM_OUT_H * KWS_STEM_OUT_W)
#define KWS_ARENA_BYTES (2 * KWS_ACT_FLOATS * (int)sizeof(float))

// Run inference. Returns predicted class index (0..N_CLASSES-1).
// `feat` is row-major [DSCNN_N_MELS, KWS_FEAT_T].
// `logits_out` receives [DSCNN_N_CLASSES] floats.
// `arena` is workspace of >= KWS_ARENA_BYTES; lifetime: caller-owned.
int kws_forward(const float* feat, float* logits_out, void* arena, int arena_bytes);
```

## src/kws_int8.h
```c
// W8A8 DS-CNN-M forward pass (INT8 weights + INT8 activations)
//   input:  log-mel float [N_MELS x T] (output of dsp_logmel)
//   output: float logits [N_CLASSES]
#pragma once
#include <stdint.h>
#include "../model/dscnn_m_w8a8.h"

#define KWS_FEAT_T   ((DSCNN_WINDOW_SAMPLES - DSCNN_N_FFT) / DSCNN_HOP + 1)  // = 99

#define KWS_STEM_OUT_H  ((DSCNN_N_MELS + 2*DSCNN_STEM_PADDING_H - DSCNN_STEM_KERNEL_H) / DSCNN_STEM_STRIDE_H + 1)
#define KWS_STEM_OUT_W  ((KWS_FEAT_T   + 2*DSCNN_STEM_PADDING_W - DSCNN_STEM_KERNEL_W) / DSCNN_STEM_STRIDE_W + 1)

// Two ping-pong INT8 buffers, each = DSCNN_FILTERS × KWS_STEM_OUT_H × KWS_STEM_OUT_W bytes.
#define KWS_ACT_BYTES   (DSCNN_FILTERS * KWS_STEM_OUT_H * KWS_STEM_OUT_W)
#define KWS_ARENA_BYTES (2 * KWS_ACT_BYTES + DSCNN_N_MELS * KWS_FEAT_T)
//                       ^ ping-pong int8        ^ feat input int8

// Run W8A8 inference. Returns predicted class index.
int kws_forward_int8(const float* feat,        // [N_MELS, T] log-mel float input
                      float* logits_out,        // [N_CLASSES] float
                      int8_t* arena,            // workspace, size >= KWS_ARENA_BYTES
                      int arena_bytes);
```

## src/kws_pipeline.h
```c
// Inference pipeline: snapshots the most recent 2.0 s of IMU samples,
// runs DSP + W8A8 KWS, applies softmax + confidence + debounce, and reports
// detected keywords via callback.
#pragma once
#include <stdint.h>
#include "ring_buffer.h"

typedef enum {
    KW_BEGIN_ACTIVITY = 0,
    KW_STOP_ACTIVITY  = 1,
    KW_WAKE_UP        = 2,
    KW_UNKNOWN        = 3,
    KW_NONE           = -1,   // below confidence threshold
} keyword_t;

typedef void (*kws_event_cb_t)(keyword_t kw, float confidence);

struct kws_config {
    struct sample_ring* ring;
    kws_event_cb_t      on_keyword;
    float               confidence_threshold;  // e.g. 0.70
    uint32_t            debounce_ms;           // e.g. 1500
    uint32_t            slide_ms;              // e.g. 250
};

// Spawn the inference thread. Returns 0 on success.
int kws_pipeline_start(const struct kws_config* cfg);
void kws_pipeline_stop(void);

struct kws_pipeline_stats {
    uint32_t inferences;
    uint32_t detections;
    uint32_t skipped_cold_start;
    uint32_t skipped_quiet;       // gated out by DSP_QUIET_FLOOR
    uint32_t last_cycles;
    uint32_t avg_cycles;
    uint32_t avg_dsp_cycles;
    uint32_t avg_inf_cycles;
    float    last_peak;           // last observed post-HP peak
    float    last_rms;            // last observed post-HP RMS
};
void kws_pipeline_get_stats(struct kws_pipeline_stats* out);
```
